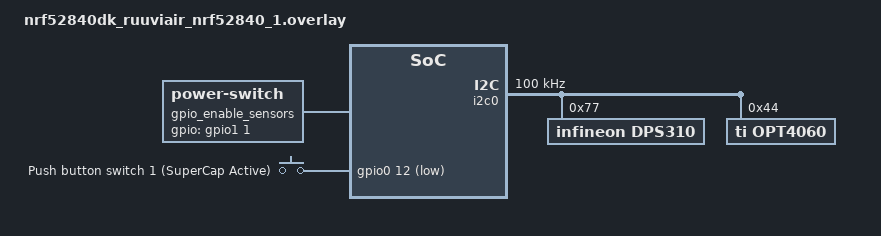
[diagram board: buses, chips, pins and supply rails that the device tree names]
/**
 * @copyright Ruuvi Innovations Ltd, license BSD-3-Clause.
 */

/ {
	gpio_enable_sensors: gpio_enable_sensors {
		compatible = "power-switch";
		status = "okay";
		gpios = <&gpio1 1 (GPIO_ACTIVE_HIGH | GPIO_PULL_DOWN)>;
	};

	buttons {
		button1: button_1 {
			gpios = <&gpio0 12 (GPIO_PULL_UP | GPIO_ACTIVE_LOW)>;
			label = "Push button switch 1 (SuperCap Active)";
			zephyr,code = <INPUT_KEY_1>;
		};
	};

	aliases {
		gpio-supercap-active = &button1;
	};
};

&gpio0 {
	status = "okay";
	gpio-reserved-ranges = <0 2>, <6 1>, <8 3>, <17 7>, <26 2>;
	gpio-line-names =
		"XL1",                       // GPIO 0 *
		"XL2",                       // GPIO 1 *
		"AREF",                      // GPIO 2
		"A0",                        // GPIO 3
		"A1",                        // GPIO 4
		"UART0_RTS",                 // GPIO 5
		"UART0_TXD",                 // GPIO 6 *
		"UART0_CTS",                 // GPIO 7
		"UART0_RXD",                 // GPIO 8 *
		"NFC1",                      // GPIO 9 *
		"NFC2",                      // GPIO 10 *
		"BUTTON1 - BUTTON_PINHOLE",  // GPIO 11
		"BUTTON2 - SUPERCAP_ACTIVE", // GPIO 12
		"LED1 - PINHOLE_LED_GREEN",  // GPIO 13
		"LED2 - PINHOLE_LED_RED",    // GPIO 14
		"LED3",                      // GPIO 15
		"LED4",                      // GPIO 16
		"QSPI CS",                   // GPIO 17 *
		"RESET",                     // GPIO 18 *
		"QSPI CLK",                  // GPIO 19 *
		"QSPI DIO0",                 // GPIO 20 *
		"QSPI DIO1",                 // GPIO 21 *
		"QSPI DIO2",                 // GPIO 22 *
		"QSPI DIO3",                 // GPIO 23 *
		"BUTTON3",                   // GPIO 24
		"BUTTON4",                   // GPIO 25
		"I2C_SDA (D14)",             // GPIO 26 *
		"I2C_SCL (D15)",             // GPIO 27 *
		"A2",                        // GPIO 28
		"A3",                        // GPIO 29
		"A4",                        // GPIO 30
		"A5";                        // GPIO 31
};

&gpio1 {
	status = "okay";
	gpio-reserved-ranges = <5 2>;
	gpio-line-names =
		"",                     // GPIO 0
		"ENABLE_SENSORS (D0)",  // GPIO 1
		"D1",                   // GPIO 2
		"D2",                   // GPIO 3
		"D3",                   // GPIO 4
		"PDM_DIN (D4)",         // GPIO 5 *
		"PDM_CLK (D5)",         // GPIO 6 *
		"D6",                   // GPIO 7
		"D7",                   // GPIO 8
		"",                     // GPIO 9
		"D8",                   // GPIO 10
		"D9",                   // GPIO 11
		"D10",                  // GPIO 12
		"D11",                  // GPIO 13
		"D12",                  // GPIO 14
		"D13";                  // GPIO 15
};

&i2c0 {
	status = "okay";
	clock-frequency = <I2C_BITRATE_STANDARD>;

	DPS310@77 {
		status = "okay";
		compatible = "infineon,dps310";
		reg = <0x77>;
	};

	OPT4060@44 {
		status = "okay";
		compatible = "ti,opt4060";
		reg = <0x44>;
	};
};
